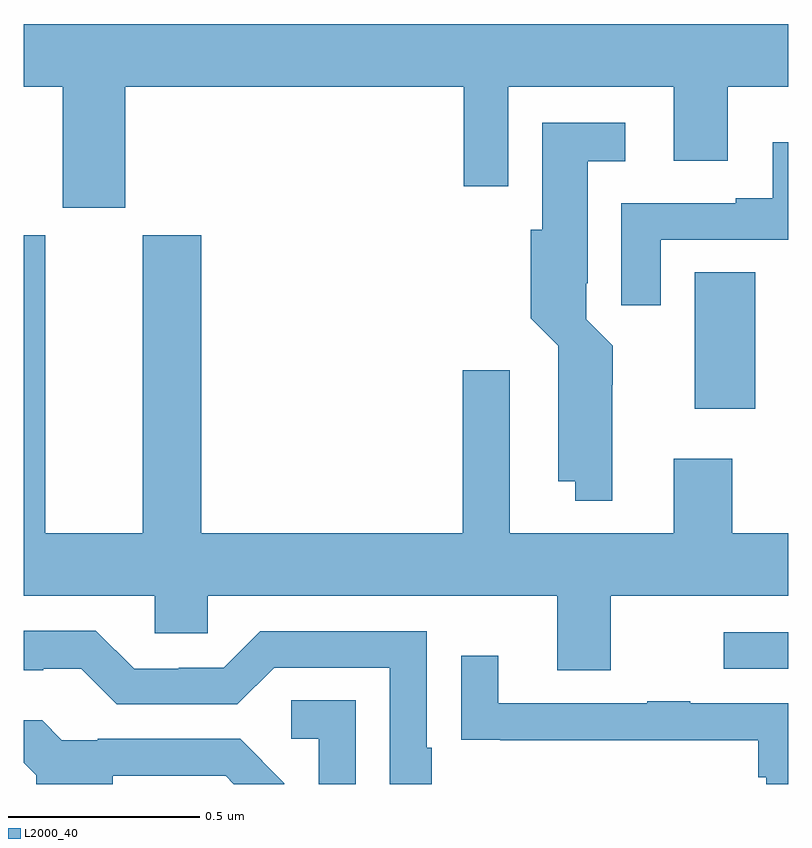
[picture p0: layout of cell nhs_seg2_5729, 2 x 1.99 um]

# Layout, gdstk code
import gdstk
lib = gdstk.Library(unit=1e-6, precision=1e-09)
def R(c, l, rs):  # rectangles x0, y0, x1, y1
    for r in rs: c.add(gdstk.rectangle(r[:2], r[2:], *l))
def P(c, l, *ps):  # polygons
    for p in ps: c.add(gdstk.Polygon(p, *l))
L2000_40 = (2000, 40)

nhs_seg2_5729 = lib.new_cell('nhs_seg2_5729')
R(nhs_seg2_5729, L2000_40, [(183.831,658.101,184,658.197), (183.755,658.782,183.913,659.138)])
P(nhs_seg2_5729, L2000_40, [(182.266,659.624),(183.151,659.624),(183.151,659.364),(183.267,659.364),(183.267,659.624),(183.701,659.624),(183.701,659.43),(183.841,659.43),(183.841,659.624),(184,659.624),(184,659.788),(182,659.788),(182,659.624),(182.102,659.624),(182.102,659.307),(182.266,659.307)],
  [(183.54,658.844),(183.541,658.844),(183.541,658.946),(183.471,659.016),(183.471,659.11),(183.475,659.11),(183.475,659.429),(183.574,659.429),(183.574,659.53),(183.356,659.53),(183.356,659.25),(183.326,659.25),(183.326,659.018),(183.398,658.946),(183.398,658.592),(183.443,658.592),(183.443,658.541),(183.54,658.541)],
  [(183.667,659.223),(184,659.223),(184,659.479),(183.959,659.479),(183.959,659.332),(183.863,659.332),(183.863,659.319),(183.563,659.319),(183.563,659.052),(183.667,659.052)],
  [(183.535,658.292),(184,658.292),(184,658.456),(183.854,658.456),(183.854,658.651),(183.701,658.651),(183.701,658.456),(183.271,658.456),(183.271,658.882),(183.149,658.882),(183.149,658.456),(182.465,658.456),(182.465,659.235),(182.312,659.235),(182.312,658.456),(182.056,658.456),(182.056,659.235),(182,659.235),(182,658.292),(182.343,658.292),(182.343,658.194),(182.481,658.194),(182.481,658.292),(183.395,658.292),(183.395,658.098),(183.535,658.098)],
  [(183.067,657.895),(183.054,657.895),(183.054,658.2),(182.619,658.2),(182.523,658.104),(182.405,658.104),(182.405,658.101),(182.289,658.101),(182.189,658.201),(182,658.201),(182,658.097),(182.051,658.097),(182.051,658.101),(182.151,658.101),(182.244,658.008),(182.559,658.008),(182.655,658.104),(182.958,658.104),(182.958,657.8),(183.067,657.8)],
  [(184,658.011),(183.743,658.011),(183.743,658.016),(183.631,658.016),(183.631,658.011),(183.241,658.011),(183.241,658.135),(183.145,658.135),(183.145,657.916),(183.247,657.916),(183.247,657.915),(183.922,657.915),(183.922,657.818),(183.942,657.818),(183.942,657.8),(184,657.8)],
  [(182.868,658.019),(182.7,658.019),(182.7,657.918),(182.772,657.918),(182.772,657.8),(182.868,657.8)],
  [(182.233,657.822),(182.528,657.822),(182.55,657.8),(182.682,657.8),(182.682,657.802),(182.566,657.918),(182.194,657.918),(182.194,657.915),(182.1,657.915),(182.048,657.967),(182,657.967),(182,657.856),(182.033,657.823),(182.033,657.8),(182.233,657.8)])

lib.write_gds('nhs_seg2_5729.gds')
